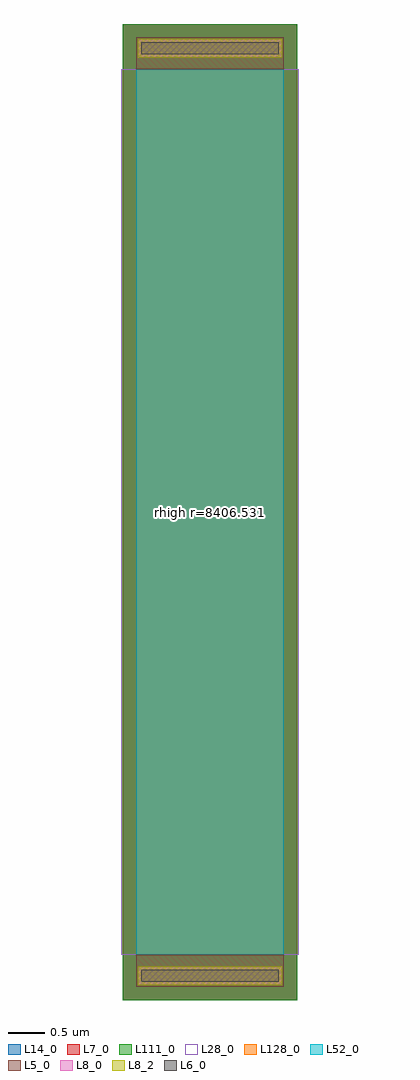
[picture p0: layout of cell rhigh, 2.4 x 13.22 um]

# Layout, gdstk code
import gdstk
lib = gdstk.Library(unit=1e-6, precision=1e-09)
def R(c, l, rs):  # rectangles x0, y0, x1, y1
    for r in rs: c.add(gdstk.rectangle(r[:2], r[2:], *l))
L5_0 = (5, 0)
L6_0 = (6, 0)
L7_0 = (7, 0)
L8_0 = (8, 0)
L8_2 = (8, 2)
L14_0 = (14, 0)
L28_0 = (28, 0)
L52_0 = (52, 0)
L111_0 = (111, 0)
L128_0 = (128, 0)

rhigh = lib.new_cell('rhigh')
R(rhigh, L5_0, [(0,-0.43,2,0), (0,12,2,12.43)])
R(rhigh, L6_0, [(0.07,-0.36,1.93,-0.2), (0.07,12.2,1.93,12.36)])
R(rhigh, L7_0, [(-0.18,-0.61,2.18,0.18), (-0.18,0,2.18,12), (-0.18,0,2.18,12), (-0.18,11.82,2.18,12.61)])
R(rhigh, L8_0, [(0.02,-0.41,1.98,-0.15), (0.02,12.15,1.98,12.41)])
R(rhigh, L8_2, [(0.02,-0.41,1.98,-0.15), (0.02,12.15,1.98,12.41)])
R(rhigh, L14_0, [(-0.18,-0.61,2.18,0.18), (-0.18,0,2.18,12), (-0.18,0,2.18,12), (-0.18,11.82,2.18,12.61)])
R(rhigh, L28_0, [(-0.2,0,2.2,12)])
R(rhigh, L52_0, [(0,0,2,12)])
R(rhigh, L111_0, [(-0.18,-0.61,2.18,0.18), (-0.2,0,2.2,12), (-0.18,11.82,2.18,12.61)])
R(rhigh, L128_0, [(0,0,2,12)])
rhigh.add(gdstk.Label('rhigh r=8406.531', (1,6), layer=63, texttype=0))
rhigh.add(gdstk.Label('rhigh', (1,6), layer=52, texttype=0))

lib.write_gds('rhigh.gds')
